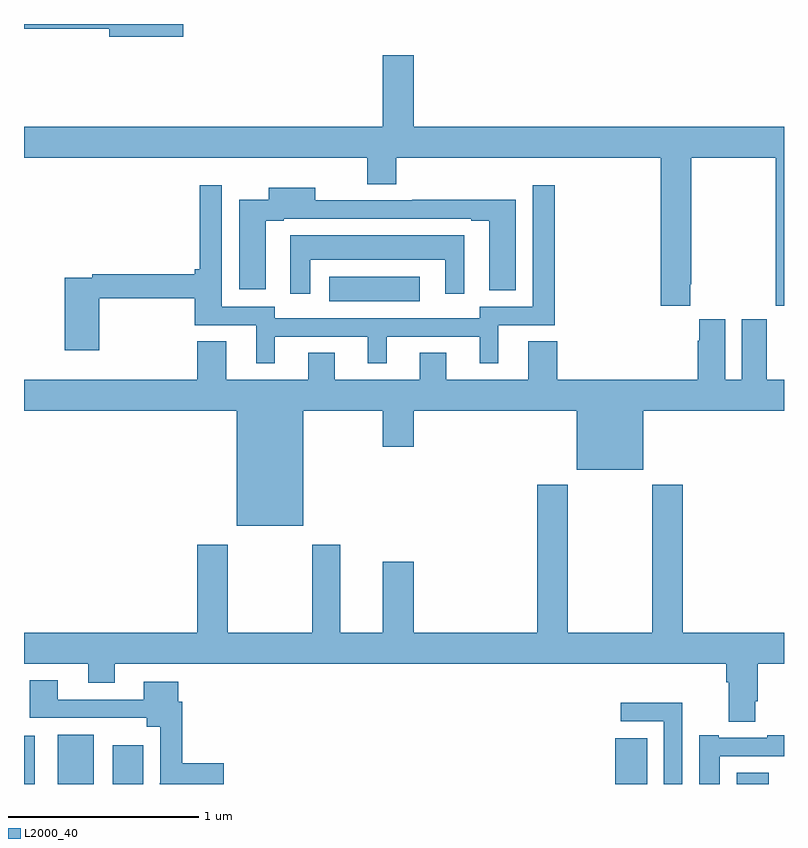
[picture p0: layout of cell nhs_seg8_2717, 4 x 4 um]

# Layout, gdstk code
import gdstk
lib = gdstk.Library(unit=1e-6, precision=1e-09)
def R(c, l, rs):  # rectangles x0, y0, x1, y1
    for r in rs: c.add(gdstk.rectangle(r[:2], r[2:], *l))
def P(c, l, *ps):  # polygons
    for p in ps: c.add(gdstk.Polygon(p, *l))
L2000_40 = (2000, 40)

nhs_seg8_2717 = lib.new_cell('nhs_seg8_2717')
R(nhs_seg8_2717, L2000_40, [(283,1083.9,283.057,1084.153), (283.178,1083.9,283.366,1084.159), (283.466,1083.9,283.627,1084.105), (286.112,1083.9,286.279,1084.141), (286.751,1083.9,286.921,1083.958), (284.607,1086.44,285.082,1086.571)])
P(nhs_seg8_2717, L2000_40, [(283.837,1087.9),(283,1087.9),(283,1087.876),(283.448,1087.876),(283.448,1087.834),(283.837,1087.834)],
  [(286.507,1086.529),(286.512,1086.529),(286.512,1087.196),(286.957,1087.196),(286.957,1086.417),(287,1086.417),(287,1087.36),(285.052,1087.36),(285.052,1087.735),(284.888,1087.735),(284.888,1087.36),(283,1087.36),(283,1087.196),(284.807,1087.196),(284.807,1087.057),(284.96,1087.057),(284.96,1087.196),(286.352,1087.196),(286.352,1086.417),(286.507,1086.417)],
  [(284.32,1086.255),(284.81,1086.255),(284.81,1086.114),(284.908,1086.114),(284.908,1086.255),(285.398,1086.255),(285.398,1086.114),(285.496,1086.114),(285.496,1086.315),(285.794,1086.315),(285.794,1087.051),(285.678,1087.051),(285.678,1086.411),(285.399,1086.411),(285.399,1086.351),(284.319,1086.351),(284.319,1086.411),(284.04,1086.411),(284.04,1087.051),(283.924,1087.051),(283.924,1086.608),(283.898,1086.608),(283.898,1086.584),(283.36,1086.584),(283.36,1086.564),(283.214,1086.564),(283.214,1086.183),(283.397,1086.183),(283.397,1086.456),(283.898,1086.456),(283.898,1086.315),(284.222,1086.315),(284.222,1086.114),(284.32,1086.114)],
  [(285.589,1086.975),(285.043,1086.975),(285.043,1086.972),(284.533,1086.972),(284.533,1087.039),(284.288,1087.039),(284.288,1086.975),(284.132,1086.975),(284.132,1086.504),(284.272,1086.504),(284.272,1086.864),(284.368,1086.864),(284.368,1086.876),(285.353,1086.876),(285.353,1086.864),(285.449,1086.864),(285.449,1086.498),(285.589,1086.498)],
  [(284.506,1086.659),(285.218,1086.659),(285.218,1086.48),(285.316,1086.48),(285.316,1086.787),(284.402,1086.787),(284.402,1086.48),(284.506,1086.48)],
  [(284.47,1085.864),(284.888,1085.864),(284.888,1085.676),(285.052,1085.676),(285.052,1085.864),(285.908,1085.864),(285.908,1085.555),(286.258,1085.555),(286.258,1085.864),(287,1085.864),(287,1086.028),(286.909,1086.028),(286.909,1086.346),(286.778,1086.346),(286.778,1086.028),(286.69,1086.028),(286.69,1086.346),(286.553,1086.346),(286.553,1086.233),(286.547,1086.233),(286.547,1086.028),(285.806,1086.028),(285.806,1086.23),(285.653,1086.23),(285.653,1086.028),(285.223,1086.028),(285.223,1086.17),(285.083,1086.17),(285.083,1086.028),(284.635,1086.028),(284.635,1086.17),(284.495,1086.17),(284.495,1086.028),(284.065,1086.028),(284.065,1086.23),(283.913,1086.23),(283.913,1086.028),(283,1086.028),(283,1085.864),(284.12,1085.864),(284.12,1085.258),(284.47,1085.258)],
  [(284.888,1085.071),(284.888,1084.696),(284.665,1084.696),(284.665,1085.158),(284.518,1085.158),(284.518,1084.696),(284.073,1084.696),(284.073,1085.158),(283.913,1085.158),(283.913,1084.696),(283,1084.696),(283,1084.532),(283.337,1084.532),(283.337,1084.433),(283.477,1084.433),(283.477,1084.532),(286.697,1084.532),(286.697,1084.436),(286.709,1084.436),(286.709,1084.228),(286.849,1084.228),(286.849,1084.336),(286.862,1084.336),(286.862,1084.532),(287,1084.532),(287,1084.696),(286.466,1084.696),(286.466,1085.476),(286.306,1085.476),(286.306,1084.696),(285.861,1084.696),(285.861,1085.476),(285.701,1085.476),(285.701,1084.696),(285.052,1084.696),(285.052,1085.071)],
  [(284.05,1084.009),(283.832,1084.009),(283.832,1084.334),(283.813,1084.334),(283.813,1084.438),(283.631,1084.438),(283.631,1084.344),(283.177,1084.344),(283.177,1084.447),(283.03,1084.447),(283.03,1084.248),(283.646,1084.248),(283.646,1084.202),(283.716,1084.202),(283.716,1083.905),(283.715,1083.905),(283.715,1083.9),(284.05,1083.9)],
  [(286.464,1084.328),(286.14,1084.328),(286.14,1084.23),(286.368,1084.23),(286.368,1083.9),(286.464,1083.9)],
  [(286.663,1084.047),(287,1084.047),(287,1084.156),(286.913,1084.156),(286.913,1084.143),(286.657,1084.143),(286.657,1084.156),(286.553,1084.156),(286.553,1083.9),(286.663,1083.9)])

lib.write_gds('nhs_seg8_2717.gds')
